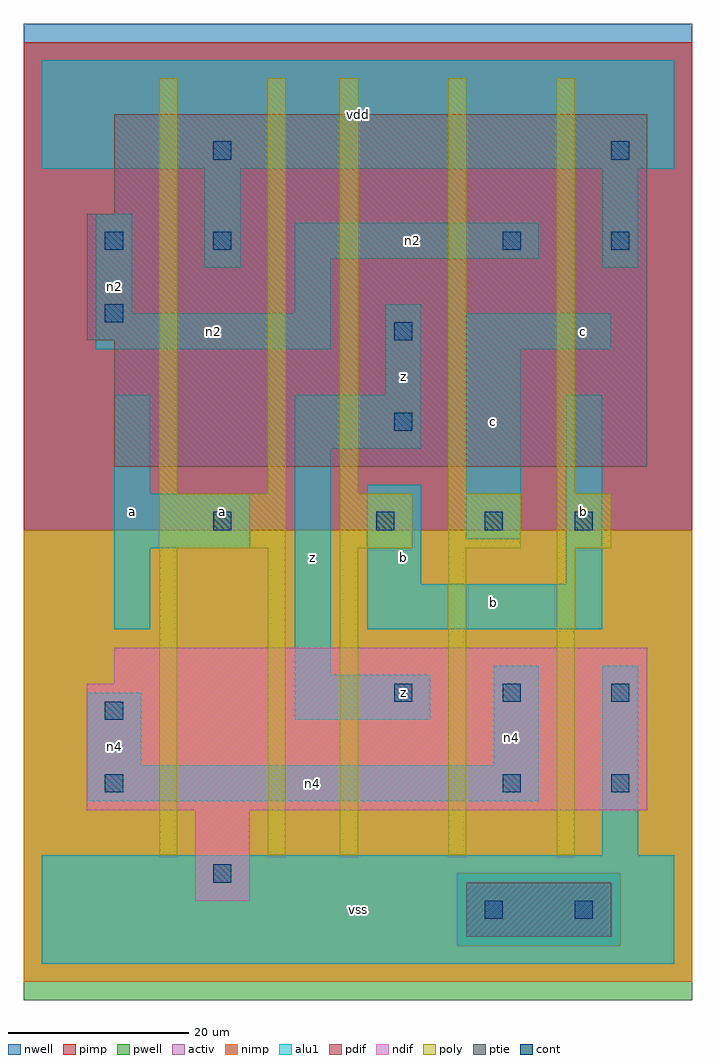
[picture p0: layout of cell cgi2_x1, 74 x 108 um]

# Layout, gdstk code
import gdstk
lib = gdstk.Library(unit=1e-6, precision=1e-09)
def R(c, l, rs):  # rectangles x0, y0, x1, y1
    for r in rs: c.add(gdstk.rectangle(r[:2], r[2:], *l))
def A(c, l, x, y, w, h, nx, ny, dx, dy):  # array of equal rectangles
    R(c, l, [(x+i*dx, y+j*dy, x+i*dx+w, y+j*dy+h) for i in range(nx) for j in range(ny)])
ndif = (3, 0)
pdif = (4, 0)
ptie = (6, 0)
cont = (25, 0)
pwell = (41, 0)
nwell = (42, 0)
activ = (43, 0)
pimp = (44, 0)
nimp = (45, 0)
poly = (46, 0)
alu1 = (49, 0)

cgi2_x1 = lib.new_cell('cgi2_x1')
R(cgi2_x1, ndif, [(17,7,23,17), (5,17,67,31), (8,31,67,35)])
R(cgi2_x1, pdif, [(8,55,67,69), (5,69,67,83), (8,83,67,94)])
R(cgi2_x1, ptie, [(47,3,63,9)])
A(cgi2_x1, cont, 39, 29, 2, 2, 3, 1, 12, 0)
R(cgi2_x1, cont, [(49,5,51,7), (59,5,61,7), (19,9,21,11), (7,19,9,21), (51,19,53,21), (63,19,65,21), (7,27,9,29), (19,48,21,50), (37,48,39,50), (49,48,51,50), (59,48,61,50), (39,59,41,61), (39,69,41,71), (7,71,9,73), (7,79,9,81), (19,79,21,81), (51,79,53,81), (63,79,65,81), (19,89,21,91), (63,89,65,91)])
R(cgi2_x1, pwell, [(-2,-4,72,48)])
R(cgi2_x1, nwell, [(-2,48,72,104)])
R(cgi2_x1, activ, [(47,3,63,9), (17,7,23,17), (5,17,67,31), (8,31,67,35), (8,55,67,69), (5,69,67,83), (8,83,67,94)])
R(cgi2_x1, pimp, [(46,2,64,10), (-2,48,72,102)])
R(cgi2_x1, nimp, [(-2,-2,72,2), (-2,2,46,10), (64,2,72,10), (-2,10,72,48)])
A(cgi2_x1, poly, 33, 12, 2, 34, 3, 1, 12, 0)
A(cgi2_x1, poly, 33, 52, 2, 46, 3, 1, 12, 0)
R(cgi2_x1, poly, [(13,12,15,46), (25,12,27,46), (13,46,27,52), (33,46,41,52), (45,46,53,52), (57,46,63,52), (13,52,15,98), (25,52,27,98)])
R(cgi2_x1, alu1, [(0,0,70,12), (62,12,66,33), (5,18,55,22), (5,22,11,30), (50,22,55,33), (28,27,43,32), (28,32,32,57), (8,37,12,46), (36,37,62,42), (36,42,42,53), (58,42,62,63), (8,46,23,52), (47,47,53,68), (8,52,12,63), (28,57,42,63), (38,63,42,73), (6,68,32,72), (47,68,63,72), (6,72,10,83), (28,72,32,78), (18,77,22,88), (62,77,66,88), (28,78,55,82), (0,88,70,100)])
cgi2_x1.add(gdstk.Label('n4', (8,24), layer=49, texttype=0))
cgi2_x1.add(gdstk.Label('n2', (8,75), layer=49, texttype=0))
cgi2_x1.add(gdstk.Label('a', (10,50), layer=49, texttype=0))
cgi2_x1.add(gdstk.Label('a', (20,50), layer=49, texttype=0))
cgi2_x1.add(gdstk.Label('vss', (35,6), layer=49, texttype=0))
cgi2_x1.add(gdstk.Label('z', (30,45), layer=49, texttype=0))
cgi2_x1.add(gdstk.Label('n2', (19,70), layer=49, texttype=0))
cgi2_x1.add(gdstk.Label('vdd', (35,94), layer=49, texttype=0))
cgi2_x1.add(gdstk.Label('n4', (52,25), layer=49, texttype=0))
cgi2_x1.add(gdstk.Label('n4', (30,20), layer=49, texttype=0))
cgi2_x1.add(gdstk.Label('z', (40,30), layer=49, texttype=0))
cgi2_x1.add(gdstk.Label('b', (50,40), layer=49, texttype=0))
cgi2_x1.add(gdstk.Label('b', (40,45), layer=49, texttype=0))
cgi2_x1.add(gdstk.Label('c', (50,60), layer=49, texttype=0))
cgi2_x1.add(gdstk.Label('z', (40,65), layer=49, texttype=0))
cgi2_x1.add(gdstk.Label('n2', (41,80), layer=49, texttype=0))
cgi2_x1.add(gdstk.Label('b', (60,50), layer=49, texttype=0))
cgi2_x1.add(gdstk.Label('c', (60,70), layer=49, texttype=0))

lib.write_gds('cgi2_x1.gds')
